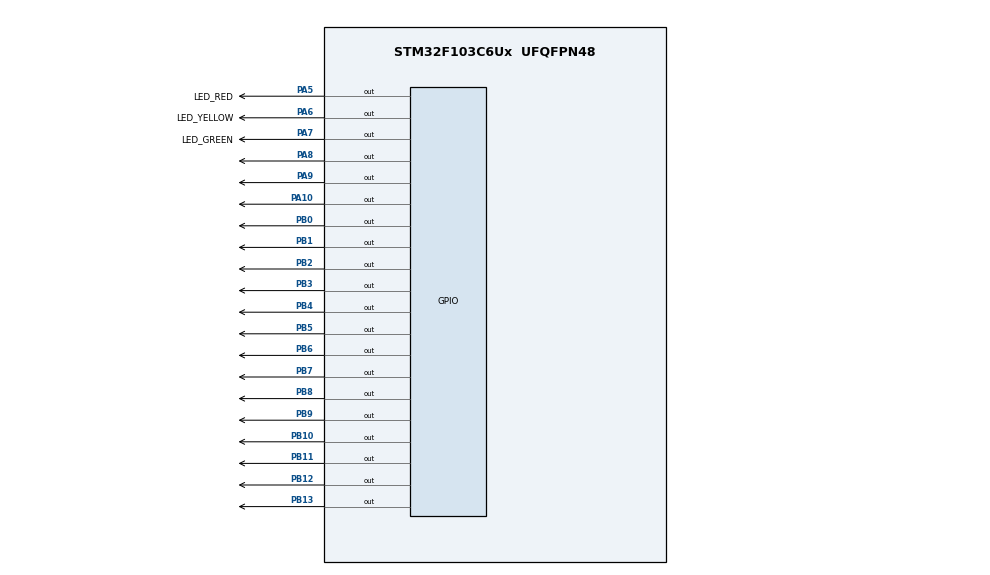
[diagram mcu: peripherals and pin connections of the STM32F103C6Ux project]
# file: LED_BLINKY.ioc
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Mcu.Family=STM32F1
Mcu.Name=STM32F103C6Ux
Mcu.Package=UFQFPN48
NVIC.PriorityGroup=NVIC_PRIORITYGROUP_4
PA10.Signal=GPIO_Output
PA5.GPIO_Label=LED_RED
PA5.Signal=GPIO_Output
PA6.GPIO_Label=LED_YELLOW
PA6.Signal=GPIO_Output
PA7.GPIO_Label=LED_GREEN
PA7.Signal=GPIO_Output
PA8.Signal=GPIO_Output
PA9.Signal=GPIO_Output
PB0.Signal=GPIO_Output
PB1.Signal=GPIO_Output
PB10.Signal=GPIO_Output
PB11.Signal=GPIO_Output
PB12.Signal=GPIO_Output
PB13.Signal=GPIO_Output
PB2.Signal=GPIO_Output
PB3.Signal=GPIO_Output
PB4.Signal=GPIO_Output
PB5.Signal=GPIO_Output
PB6.Signal=GPIO_Output
PB7.Signal=GPIO_Output
PB8.Signal=GPIO_Output
PB9.Signal=GPIO_Output
ProjectManager.HeapSize=0x200
ProjectManager.StackSize=0x400
ProjectManager.TargetToolchain=STM32CubeIDE
RCC.APB1Freq_Value=8000000
RCC.APB2Freq_Value=8000000
VP_SYS_VS_ND.Mode=No_Debug
board=custom

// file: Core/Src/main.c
/* USER CODE BEGIN Header */
/**
  ******************************************************************************
  * @file           : main.c
  * @brief          : Main program body
  ******************************************************************************
  * @attention
  *
  * <h2><center>&copy; Copyright (c) 2022 STMicroelectronics.
  * All rights reserved.</center></h2>
  *
  * This software component is licensed by ST under BSD 3-Clause license,
  * the "License"; You may not use this file except in compliance with the
  * License. You may obtain a copy of the License at:
  *                        opensource.org/licenses/BSD-3-Clause
  *
  ******************************************************************************
  */
/* USER CODE END Header */
#include "main.h"

void SystemClock_Config(void);
static void MX_GPIO_Init(void);

/* USER CODE BEGIN 0 */

void SevenSegment_A(int number){
	if(number == 0){
		HAL_GPIO_WritePin(GPIOB, GPIO_PIN_0, 0);
		HAL_GPIO_WritePin(GPIOB, GPIO_PIN_1, 0);
		HAL_GPIO_WritePin(GPIOB, GPIO_PIN_2, 0);
		HAL_GPIO_WritePin(GPIOB, GPIO_PIN_3, 0);
		HAL_GPIO_WritePin(GPIOB, GPIO_PIN_4, 0);
		HAL_GPIO_WritePin(GPIOB, GPIO_PIN_5, 0);
		HAL_GPIO_WritePin(GPIOB, GPIO_PIN_6, 1);
	}
	if(number == 1){
			HAL_GPIO_WritePin(GPIOB, GPIO_PIN_0, 1);
			HAL_GPIO_WritePin(GPIOB, GPIO_PIN_1, 0);
			HAL_GPIO_WritePin(GPIOB, GPIO_PIN_2, 0);
			HAL_GPIO_WritePin(GPIOB, GPIO_PIN_3, 1);
			HAL_GPIO_WritePin(GPIOB, GPIO_PIN_4, 1);
			HAL_GPIO_WritePin(GPIOB, GPIO_PIN_5, 1);
			HAL_GPIO_WritePin(GPIOB, GPIO_PIN_6, 1);
		}
	if(number == 2){
			HAL_GPIO_WritePin(GPIOB, GPIO_PIN_0, 0);
			HAL_GPIO_WritePin(GPIOB, GPIO_PIN_1, 0);
			HAL_GPIO_WritePin(GPIOB, GPIO_PIN_2, 1);
			HAL_GPIO_WritePin(GPIOB, GPIO_PIN_3, 0);
			HAL_GPIO_WritePin(GPIOB, GPIO_PIN_4, 0);
			HAL_GPIO_WritePin(GPIOB, GPIO_PIN_5, 1);
			HAL_GPIO_WritePin(GPIOB, GPIO_PIN_6, 0);
		}
	if(number == 3){
			HAL_GPIO_WritePin(GPIOB, GPIO_PIN_0, 0);
			HAL_GPIO_WritePin(GPIOB, GPIO_PIN_1, 0);
			HAL_GPIO_WritePin(GPIOB, GPIO_PIN_2, 0);
			HAL_GPIO_WritePin(GPIOB, GPIO_PIN_3, 0);
			HAL_GPIO_WritePin(GPIOB, GPIO_PIN_4, 1);
			HAL_GPIO_WritePin(GPIOB, GPIO_PIN_5, 1);
			HAL_GPIO_WritePin(GPIOB, GPIO_PIN_6, 0);
		}
	if(number == 4){
			HAL_GPIO_WritePin(GPIOB, GPIO_PIN_0, 1);
			HAL_GPIO_WritePin(GPIOB, GPIO_PIN_1, 0);
			HAL_GPIO_WritePin(GPIOB, GPIO_PIN_2, 0);
			HAL_GPIO_WritePin(GPIOB, GPIO_PIN_3, 1);
			HAL_GPIO_WritePin(GPIOB, GPIO_PIN_4, 1);
			HAL_GPIO_WritePin(GPIOB, GPIO_PIN_5, 0);
			HAL_GPIO_WritePin(GPIOB, GPIO_PIN_6, 0);
		}
	if(number == 5){
			HAL_GPIO_WritePin(GPIOB, GPIO_PIN_0, 0);
			HAL_GPIO_WritePin(GPIOB, GPIO_PIN_1, 1);
			HAL_GPIO_WritePin(GPIOB, GPIO_PIN_2, 0);
			HAL_GPIO_WritePin(GPIOB, GPIO_PIN_3, 0);
			HAL_GPIO_WritePin(GPIOB, GPIO_PIN_4, 1);
			HAL_GPIO_WritePin(GPIOB, GPIO_PIN_5, 0);
			HAL_GPIO_WritePin(GPIOB, GPIO_PIN_6, 0);
		}
	if(number == 6){
			HAL_GPIO_WritePin(GPIOB, GPIO_PIN_0, 0);
			HAL_GPIO_WritePin(GPIOB, GPIO_PIN_1, 1);
			HAL_GPIO_WritePin(GPIOB, GPIO_PIN_2, 0);
			HAL_GPIO_WritePin(GPIOB, GPIO_PIN_3, 0);
			HAL_GPIO_WritePin(GPIOB, GPIO_PIN_4, 0);
			HAL_GPIO_WritePin(GPIOB, GPIO_PIN_5, 0);
			HAL_GPIO_WritePin(GPIOB, GPIO_PIN_6, 0);
		}
	if(number == 7){
			HAL_GPIO_WritePin(GPIOB, GPIO_PIN_0, 0);
			HAL_GPIO_WritePin(GPIOB, GPIO_PIN_1, 0);
			HAL_GPIO_WritePin(GPIOB, GPIO_PIN_2, 0);
			HAL_GPIO_WritePin(GPIOB, GPIO_PIN_3, 1);
			HAL_GPIO_WritePin(GPIOB, GPIO_PIN_4, 1);
			HAL_GPIO_WritePin(GPIOB, GPIO_PIN_5, 1);
			HAL_GPIO_WritePin(GPIOB, GPIO_PIN_6, 1);
		}
	if(number == 8){
			HAL_GPIO_WritePin(GPIOB, GPIO_PIN_0, 0);
			HAL_GPIO_WritePin(GPIOB, GPIO_PIN_1, 0);
			HAL_GPIO_WritePin(GPIOB, GPIO_PIN_2, 0);
			HAL_GPIO_WritePin(GPIOB, GPIO_PIN_3, 0);
			HAL_GPIO_WritePin(GPIOB, GPIO_PIN_4, 0);
			HAL_GPIO_WritePin(GPIOB, GPIO_PIN_5, 0);
			HAL_GPIO_WritePin(GPIOB, GPIO_PIN_6, 0);
		}
	if(number == 9){
			HAL_GPIO_WritePin(GPIOB, GPIO_PIN_0, 0);
			HAL_GPIO_WritePin(GPIOB, GPIO_PIN_1, 0);
			HAL_GPIO_WritePin(GPIOB, GPIO_PIN_2, 0);
			HAL_GPIO_WritePin(GPIOB, GPIO_PIN_3, 0);
			HAL_GPIO_WritePin(GPIOB, GPIO_PIN_4, 1);
			HAL_GPIO_WritePin(GPIOB, GPIO_PIN_5, 0);
			HAL_GPIO_WritePin(GPIOB, GPIO_PIN_6, 0);
		}
}

void SevenSegment_B(int number){
	if(number == 0){
		HAL_GPIO_WritePin(GPIOB, GPIO_PIN_7, 0);
		HAL_GPIO_WritePin(GPIOB, GPIO_PIN_8, 0);
		HAL_GPIO_WritePin(GPIOB, GPIO_PIN_9, 0);
		HAL_GPIO_WritePin(GPIOB, GPIO_PIN_10, 0);
		HAL_GPIO_WritePin(GPIOB, GPIO_PIN_11, 0);
		HAL_GPIO_WritePin(GPIOB, GPIO_PIN_12, 0);
		HAL_GPIO_WritePin(GPIOB, GPIO_PIN_13, 1);
	}
	if(number == 1){
			HAL_GPIO_WritePin(GPIOB, GPIO_PIN_7, 1);
			HAL_GPIO_WritePin(GPIOB, GPIO_PIN_8, 0);
			HAL_GPIO_WritePin(GPIOB, GPIO_PIN_9, 0);
			HAL_GPIO_WritePin(GPIOB, GPIO_PIN_10, 1);
			HAL_GPIO_WritePin(GPIOB, GPIO_PIN_11, 1);
			HAL_GPIO_WritePin(GPIOB, GPIO_PIN_12, 1);
			HAL_GPIO_WritePin(GPIOB, GPIO_PIN_13, 1);
		}
	if(number == 2){
			HAL_GPIO_WritePin(GPIOB, GPIO_PIN_7, 0);
			HAL_GPIO_WritePin(GPIOB, GPIO_PIN_8, 0);
			HAL_GPIO_WritePin(GPIOB, GPIO_PIN_9, 1);
			HAL_GPIO_WritePin(GPIOB, GPIO_PIN_10, 0);
			HAL_GPIO_WritePin(GPIOB, GPIO_PIN_11, 0);
			HAL_GPIO_WritePin(GPIOB, GPIO_PIN_12, 1);
			HAL_GPIO_WritePin(GPIOB, GPIO_PIN_13, 0);
		}
	if(number == 3){
			HAL_GPIO_WritePin(GPIOB, GPIO_PIN_7, 0);
			HAL_GPIO_WritePin(GPIOB, GPIO_PIN_8, 0);
			HAL_GPIO_WritePin(GPIOB, GPIO_PIN_9, 0);
			HAL_GPIO_WritePin(GPIOB, GPIO_PIN_10, 0);
			HAL_GPIO_WritePin(GPIOB, GPIO_PIN_11, 1);
			HAL_GPIO_WritePin(GPIOB, GPIO_PIN_12, 1);
			HAL_GPIO_WritePin(GPIOB, GPIO_PIN_13, 0);
		}
	if(number == 4){
			HAL_GPIO_WritePin(GPIOB, GPIO_PIN_7, 1);
			HAL_GPIO_WritePin(GPIOB, GPIO_PIN_8, 0);
			HAL_GPIO_WritePin(GPIOB, GPIO_PIN_9, 0);
			HAL_GPIO_WritePin(GPIOB, GPIO_PIN_10, 1);
			HAL_GPIO_WritePin(GPIOB, GPIO_PIN_11, 1);
			HAL_GPIO_WritePin(GPIOB, GPIO_PIN_12, 0);
			HAL_GPIO_WritePin(GPIOB, GPIO_PIN_13, 0);
		}
	if(number == 5){
			HAL_GPIO_WritePin(GPIOB, GPIO_PIN_7, 0);
			HAL_GPIO_WritePin(GPIOB, GPIO_PIN_8, 1);
			HAL_GPIO_WritePin(GPIOB, GPIO_PIN_9, 0);
			HAL_GPIO_WritePin(GPIOB, GPIO_PIN_10, 0);
			HAL_GPIO_WritePin(GPIOB, GPIO_PIN_11, 1);
			HAL_GPIO_WritePin(GPIOB, GPIO_PIN_12, 0);
			HAL_GPIO_WritePin(GPIOB, GPIO_PIN_13, 0);
		}
	if(number == 6){
			HAL_GPIO_WritePin(GPIOB, GPIO_PIN_7, 0);
			HAL_GPIO_WritePin(GPIOB, GPIO_PIN_8, 1);
			HAL_GPIO_WritePin(GPIOB, GPIO_PIN_9, 0);
			HAL_GPIO_WritePin(GPIOB, GPIO_PIN_10, 0);
			HAL_GPIO_WritePin(GPIOB, GPIO_PIN_11, 0);
			HAL_GPIO_WritePin(GPIOB, GPIO_PIN_12, 0);
			HAL_GPIO_WritePin(GPIOB, GPIO_PIN_13, 0);
		}
	if(number == 7){
			HAL_GPIO_WritePin(GPIOB, GPIO_PIN_7, 0);
			HAL_GPIO_WritePin(GPIOB, GPIO_PIN_8, 0);
			HAL_GPIO_WritePin(GPIOB, GPIO_PIN_9, 0);
			HAL_GPIO_WritePin(GPIOB, GPIO_PIN_10, 1);
			HAL_GPIO_WritePin(GPIOB, GPIO_PIN_11, 1);
			HAL_GPIO_WritePin(GPIOB, GPIO_PIN_12, 1);
			HAL_GPIO_WritePin(GPIOB, GPIO_PIN_13, 1);
		}
	if(number == 8){
			HAL_GPIO_WritePin(GPIOB, GPIO_PIN_7, 0);
			HAL_GPIO_WritePin(GPIOB, GPIO_PIN_8, 0);
			HAL_GPIO_WritePin(GPIOB, GPIO_PIN_9, 0);
			HAL_GPIO_WritePin(GPIOB, GPIO_PIN_10, 0);
			HAL_GPIO_WritePin(GPIOB, GPIO_PIN_11, 0);
			HAL_GPIO_WritePin(GPIOB, GPIO_PIN_12, 0);
			HAL_GPIO_WritePin(GPIOB, GPIO_PIN_13, 0);
		}
	if(number == 9){
			HAL_GPIO_WritePin(GPIOB, GPIO_PIN_7, 0);
			HAL_GPIO_WritePin(GPIOB, GPIO_PIN_8, 0);
			HAL_GPIO_WritePin(GPIOB, GPIO_PIN_9, 0);
			HAL_GPIO_WritePin(GPIOB, GPIO_PIN_10, 0);
			HAL_GPIO_WritePin(GPIOB, GPIO_PIN_11, 1);
			HAL_GPIO_WritePin(GPIOB, GPIO_PIN_12, 0);
			HAL_GPIO_WritePin(GPIOB, GPIO_PIN_13, 0);
		}
}

/* USER CODE END 0 */

int main(void)
{

  /* MCU Configuration--------------------------------------------------------*/

  /* Reset of all peripherals, Initializes the Flash interface and the Systick. */
  HAL_Init();

  /* Configure the system clock */
  SystemClock_Config();

  /* Initialize all configured peripherals */
  MX_GPIO_Init();

  /* Infinite loop */
  /* USER CODE BEGIN WHILE */

  //SUM COUNTER OF 3 LED SIGNAL
  int led_counter = 0;
  int led_counter_1 = 0;

  //COUNTER OF EACH LED SIGNAL W-E WAY
  int counter_red = 5;
  int counter_yellow = 2;
  int counter_green = 3;
  //COUNTER OF EACH LED SIGNAL N-S WAY
  int counter_red_1 = 5;
  int counter_yellow_1 = 2;
  int counter_green_1 = 3;
  while (1)
  {
	  /* EXERCISE 5 */
      //W-E way code
	  if(led_counter == 10) led_counter = 0; //if(yellow led counter is
	  if(led_counter < 5 ){
		  //turn on the red led within 5s
		  HAL_GPIO_WritePin(LED_RED_GPIO_Port, LED_RED_Pin, RESET);
		  //turn off the yellow led
		  HAL_GPIO_WritePin(LED_YELLOW_GPIO_Port, LED_YELLOW_Pin, SET);
		  //turn off the green led
		  HAL_GPIO_WritePin(LED_GREEN_GPIO_Port, LED_GREEN_Pin, SET);
		  counter_yellow = 2; // after each while loop, set yellow counter is initial value for the next counter
	      SevenSegment_A(counter_red--); //count down red led

	  }
	  if(led_counter >= 5 && led_counter < 8){
		  //turn off the red led
		  HAL_GPIO_WritePin(LED_RED_GPIO_Port, LED_RED_Pin, SET);
		  //turn off the yellow led
		  HAL_GPIO_WritePin(LED_YELLOW_GPIO_Port, LED_YELLOW_Pin, SET);
		  //turn on the green led within 3s
		  HAL_GPIO_WritePin(LED_GREEN_GPIO_Port, LED_GREEN_Pin, RESET);
		  counter_red = 5;  // after each while loop, set red counter is initial value for the next counter
		  SevenSegment_A(counter_green--); //count down green led
	  }
	  if(led_counter >= 8 && led_counter < 10){
		  //turn off the red led
		  HAL_GPIO_WritePin(LED_RED_GPIO_Port, LED_RED_Pin, SET);
		  //turn on the yellow led within 3s
		  HAL_GPIO_WritePin(LED_YELLOW_GPIO_Port, LED_YELLOW_Pin, RESET);
		  //turn off the green led
		  HAL_GPIO_WritePin(LED_GREEN_GPIO_Port, LED_GREEN_Pin, SET);
		  counter_green = 3;   // after each while loop, set green counter is initial value for the next counter
		  SevenSegment_A(counter_yellow--);  //count down yellow led
	  }
	  //N-S way is similar to W-E way
	  /*LED assign: RED - GPIO_PIN_10,
	   * YELLOW - GPIO_PIN_9, GREEN - GPIO_PIN_8
	   */
	  if(led_counter_1 == 10) led_counter_1 = 0;
	  if(led_counter_1 < 3){
		  HAL_GPIO_WritePin(GPIOA, GPIO_PIN_8, SET);
		  HAL_GPIO_WritePin(GPIOA, GPIO_PIN_9, SET);
		  HAL_GPIO_WritePin(GPIOA, GPIO_PIN_10, RESET);
		  counter_red_1 = 5;
		  SevenSegment_B(counter_green_1--);
	  }
	  if(led_counter_1 >= 3 && led_counter_1 < 5){
	  		 //yellow_on
	  		HAL_GPIO_WritePin(GPIOA, GPIO_PIN_8, SET);
	  		HAL_GPIO_WritePin(GPIOA, GPIO_PIN_9, RESET);
	  		HAL_GPIO_WritePin(GPIOA, GPIO_PIN_10, SET);
	  		counter_green_1 = 3;
	  		SevenSegment_B(counter_yellow_1--);
	  }
	  if(led_counter_1 >= 5 && led_counter_1 < 10){
		  	//red_on
		    HAL_GPIO_WritePin(GPIOA, GPIO_PIN_8, RESET);
		  	HAL_GPIO_WritePin(GPIOA, GPIO_PIN_9, SET);
		  	HAL_GPIO_WritePin(GPIOA, GPIO_PIN_10,SET);
		  	counter_yellow_1 = 2;
		    SevenSegment_B(counter_red_1--);
		  }
	  HAL_Delay(1000);
	  led_counter++;
	  led_counter_1++;
    /* USER CODE END WHILE */

  }
}

void SystemClock_Config(void)
{
  RCC_OscInitTypeDef RCC_OscInitStruct = {0};
  RCC_ClkInitTypeDef RCC_ClkInitStruct = {0};

  /** Initializes the RCC Oscillators according to the specified parameters
  * in the RCC_OscInitTypeDef structure.
  */
  RCC_OscInitStruct.OscillatorType = RCC_OSCILLATORTYPE_HSI;
  RCC_OscInitStruct.HSIState = RCC_HSI_ON;
  RCC_OscInitStruct.HSICalibrationValue = RCC_HSICALIBRATION_DEFAULT;
  RCC_OscInitStruct.PLL.PLLState = RCC_PLL_NONE;
  if (HAL_RCC_OscConfig(&RCC_OscInitStruct) != HAL_OK)
  {
    Error_Handler();
  }
  /** Initializes the CPU, AHB and APB buses clocks
  */
  RCC_ClkInitStruct.ClockType = RCC_CLOCKTYPE_HCLK|RCC_CLOCKTYPE_SYSCLK
                              |RCC_CLOCKTYPE_PCLK1|RCC_CLOCKTYPE_PCLK2;
  RCC_ClkInitStruct.SYSCLKSource = RCC_SYSCLKSOURCE_HSI;
  RCC_ClkInitStruct.AHBCLKDivider = RCC_SYSCLK_DIV1;
  RCC_ClkInitStruct.APB1CLKDivider = RCC_HCLK_DIV1;
  RCC_ClkInitStruct.APB2CLKDivider = RCC_HCLK_DIV1;

  if (HAL_RCC_ClockConfig(&RCC_ClkInitStruct, FLASH_LATENCY_0) != HAL_OK)
  {
    Error_Handler();
  }
}

static void MX_GPIO_Init(void)
{
  GPIO_InitTypeDef GPIO_InitStruct = {0};

  /* GPIO Ports Clock Enable */
  __HAL_RCC_GPIOA_CLK_ENABLE();
  __HAL_RCC_GPIOB_CLK_ENABLE();

  /*Configure GPIO pin Output Level */
  HAL_GPIO_WritePin(GPIOA, LED_RED_Pin|LED_YELLOW_Pin|LED_GREEN_Pin|GPIO_PIN_8
                          |GPIO_PIN_9|GPIO_PIN_10, GPIO_PIN_RESET);

  /*Configure GPIO pin Output Level */
  HAL_GPIO_WritePin(GPIOB, GPIO_PIN_0|GPIO_PIN_1|GPIO_PIN_2|GPIO_PIN_10
                          |GPIO_PIN_11|GPIO_PIN_12|GPIO_PIN_13|GPIO_PIN_3
                          |GPIO_PIN_4|GPIO_PIN_5|GPIO_PIN_6|GPIO_PIN_7
                          |GPIO_PIN_8|GPIO_PIN_9, GPIO_PIN_RESET);

  /*Configure GPIO pins : LED_RED_Pin LED_YELLOW_Pin LED_GREEN_Pin PA8
                           PA9 PA10 */
  GPIO_InitStruct.Pin = LED_RED_Pin|LED_YELLOW_Pin|LED_GREEN_Pin|GPIO_PIN_8
                          |GPIO_PIN_9|GPIO_PIN_10;
  GPIO_InitStruct.Mode = GPIO_MODE_OUTPUT_PP;
  GPIO_InitStruct.Pull = GPIO_NOPULL;
  GPIO_InitStruct.Speed = GPIO_SPEED_FREQ_LOW;
  HAL_GPIO_Init(GPIOA, &GPIO_InitStruct);

  /*Configure GPIO pins : PB0 PB1 PB2 PB10
                           PB11 PB12 PB13 PB3
                           PB4 PB5 PB6 PB7
                           PB8 PB9 */
  GPIO_InitStruct.Pin = GPIO_PIN_0|GPIO_PIN_1|GPIO_PIN_2|GPIO_PIN_10
                          |GPIO_PIN_11|GPIO_PIN_12|GPIO_PIN_13|GPIO_PIN_3
                          |GPIO_PIN_4|GPIO_PIN_5|GPIO_PIN_6|GPIO_PIN_7
                          |GPIO_PIN_8|GPIO_PIN_9;
  GPIO_InitStruct.Mode = GPIO_MODE_OUTPUT_PP;
  GPIO_InitStruct.Pull = GPIO_NOPULL;
  GPIO_InitStruct.Speed = GPIO_SPEED_FREQ_LOW;
  HAL_GPIO_Init(GPIOB, &GPIO_InitStruct);

}

void Error_Handler(void)
{
  __disable_irq();
  while (1)
  {
  }
}

/************************ (C) COPYRIGHT STMicroelectronics *****END OF FILE****/
